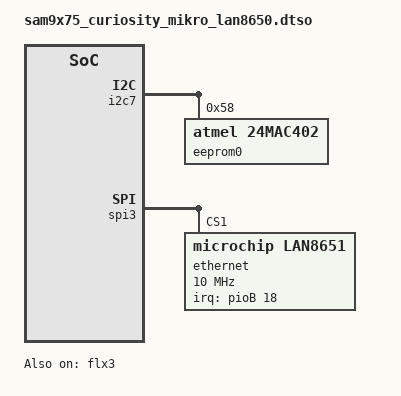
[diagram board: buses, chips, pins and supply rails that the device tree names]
// SPDX-License-Identifier: (GPL-2.0+ OR MIT)
/*
 *  Device Tree file for the SAM9X75 Curiosity board containing the
 * overlay for the Two-Wire ETH Click board at the Mikroe connector.
 *
 *  Copyright (c) 2026 Microchip Technology Inc. and its subsidiaries
 *
 *  Author: Jerry Ray <jerry.ray@microchip.com>
 *
 */
/dts-v1/;
/plugin/;
#include <dt-bindings/gpio/gpio.h>
#include <dt-bindings/interrupt-controller/irq.h>
#include <dt-bindings/mfd/atmel-flexcom.h>
#include <dt-bindings/pinctrl/at91.h>

&adc {
	status = "disabled";	/* PB18 pin conflict with MIKROE IRQ pin. */
};

&flx3 {
	atmel,flexcom-mode = <ATMEL_FLEXCOM_MODE_SPI>;
	status = "okay";
};

/* mikroBUS I2C interface */
&i2c7 {
	#address-cells = <1>;
	#size-cells = <0>;
	status = "okay";

	/* Provides MAC address. */
	eeprom0: eeprom@58 {
		compatible = "atmel,24mac402", "atmel,24c02";
		reg = <0x58>;
		read-only;

		nvmem-layout {
			compatible = "fixed-layout";
			#address-cells = <1>;
			#size-cells = <1>;
			eeprom0_eui48: eui48@9a {
				reg = <0x9a 0x6>;
			};
		};
	};
};

&pinctrl {
	spi3 {
		pinctrl_mikrobus_spi: mikrobus-spi {
			atmel,pins = <AT91_PIOC 26 AT91_PERIPH_B AT91_PINCTRL_NONE
					AT91_PIOC 23 AT91_PERIPH_B AT91_PINCTRL_NONE
					AT91_PIOC 22 AT91_PERIPH_B AT91_PINCTRL_NONE>;
		};

		pinctrl_mikrobus_spi_cs: mikrobus-spi-cs {
			atmel,pins = <AT91_PIOC 24 AT91_PERIPH_B AT91_PINCTRL_NONE>;
		};
	};
	spi_irq {
		pinctrl_mikro_irq: mikro-irq {
			atmel,pins = <AT91_PIOB 18 AT91_PERIPH_GPIO
				      AT91_PINCTRL_PULL_UP_DEGLITCH>;
		};
	};
};

&spi3 {
	#address-cells = <1>;
	#size-cells = <0>;
	pinctrl-names = "default";
	pinctrl-0 = <&pinctrl_mikrobus_spi &pinctrl_mikrobus_spi_cs>;
	status = "okay";

	ethernet@1 {
		compatible = "microchip,lan8651", "microchip,lan8650";
		reg = <1>;
		pinctrl-names = "default";
		pinctrl-0 = <&pinctrl_mikro_irq>;
		interrupt-parent = <&pioB>;
		interrupts = <18 IRQ_TYPE_EDGE_FALLING>;
		interrupt-names = "irq";
		nvmem-cells = <&eeprom0_eui48>;
		nvmem-cell-names = "mac-address";
		spi-max-frequency = <10000000>;
		status = "okay";
	};
};
